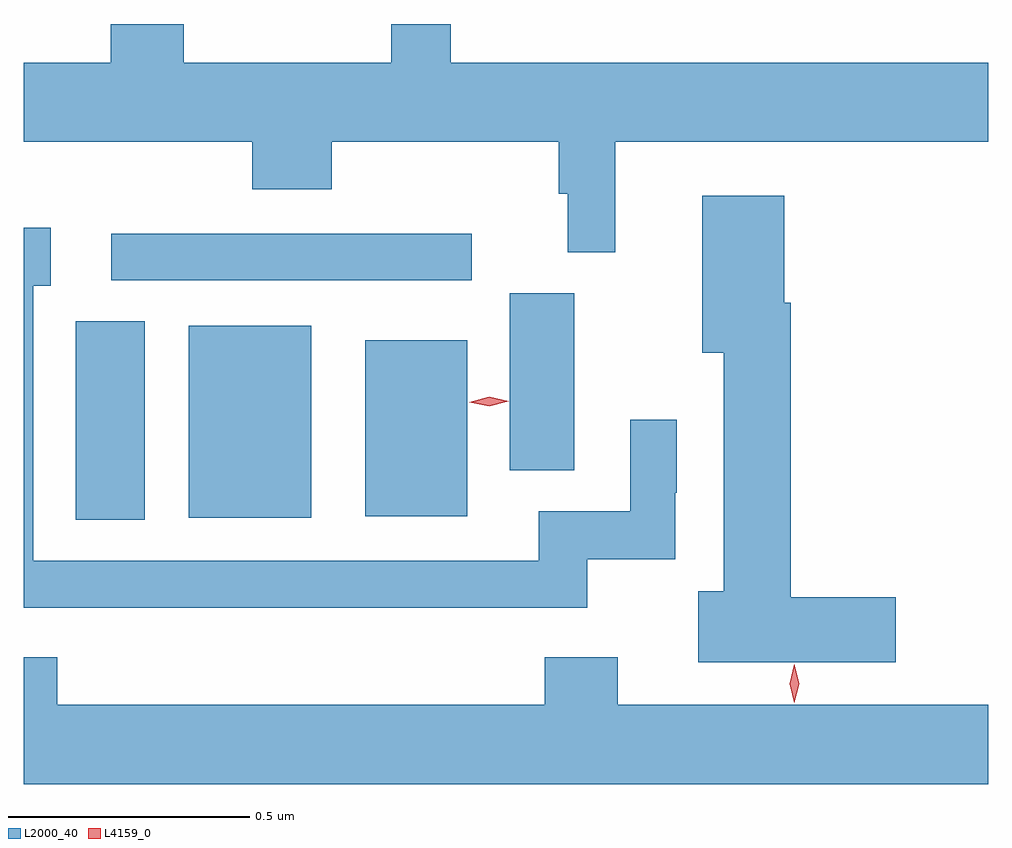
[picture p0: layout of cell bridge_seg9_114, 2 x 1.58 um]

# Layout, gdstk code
import gdstk
lib = gdstk.Library(unit=1e-6, precision=1e-09)
def R(c, l, rs):  # rectangles x0, y0, x1, y1
    for r in rs: c.add(gdstk.rectangle(r[:2], r[2:], *l))
def P(c, l, *ps):  # polygons
    for p in ps: c.add(gdstk.Polygon(p, *l))
L2000_40 = (2000, 40)
L4159_0 = (4159, 0)

bridge_seg9_114 = lib.new_cell('bridge_seg9_114')
R(bridge_seg9_114, L2000_40, [(633.323,1240.924,633.466,1241.336), (633.557,1240.928,633.811,1241.326), (633.923,1240.931,634.135,1241.296), (634.223,1241.027,634.357,1241.394), (633.396,1241.421,634.144,1241.517)])
P(bridge_seg9_114, L2000_40, [(634.442,1241.708),(635.215,1241.708),(635.215,1241.872),(634.1,1241.872),(634.1,1241.952),(633.977,1241.952),(633.977,1241.872),(633.547,1241.872),(633.547,1241.952),(633.395,1241.952),(633.395,1241.872),(633.215,1241.872),(633.215,1241.708),(633.689,1241.708),(633.689,1241.609),(633.854,1241.609),(633.854,1241.708),(634.324,1241.708),(634.324,1241.6),(634.343,1241.6),(634.343,1241.479),(634.442,1241.479)],
  [(635.023,1240.763),(634.805,1240.763),(634.805,1241.374),(634.792,1241.374),(634.792,1241.596),(634.622,1241.596),(634.622,1241.27),(634.667,1241.27),(634.667,1240.776),(634.614,1240.776),(634.614,1240.628),(635.023,1240.628)],
  [(634.383,1240.842),(634.566,1240.842),(634.566,1240.98),(634.569,1240.98),(634.569,1241.131),(634.473,1241.131),(634.473,1240.942),(634.283,1240.942),(634.283,1240.839),(633.235,1240.839),(633.235,1241.409),(633.271,1241.409),(633.271,1241.53),(633.215,1241.53),(633.215,1240.742),(634.383,1240.742)],
  [(635.215,1240.54),(634.447,1240.54),(634.447,1240.639),(634.295,1240.639),(634.295,1240.54),(633.284,1240.54),(633.284,1240.639),(633.215,1240.639),(633.215,1240.376),(635.215,1240.376)])
P(bridge_seg9_114, L4159_0, [(634.18,1241.159),(634.139,1241.168),(634.139,1241.168),(634.139,1241.168),(634.18,1241.179),(634.221,1241.17),(634.221,1241.17),(634.221,1241.17)],
  [(634.813,1240.544),(634.813,1240.544),(634.803,1240.584),(634.813,1240.624),(634.813,1240.624),(634.813,1240.624),(634.823,1240.584),(634.813,1240.544)])

lib.write_gds('bridge_seg9_114.gds')
